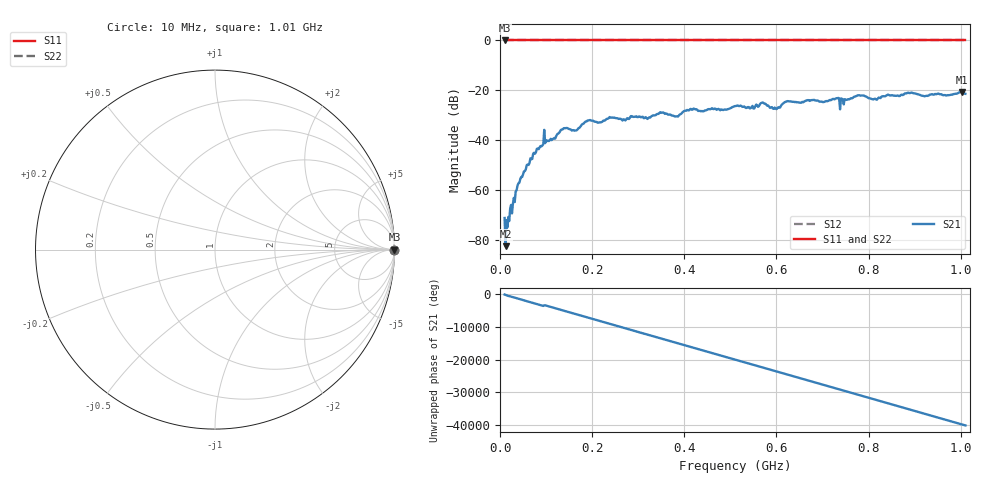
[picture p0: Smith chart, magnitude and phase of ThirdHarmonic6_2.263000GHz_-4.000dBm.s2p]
! 8/17/2025 2:48:20 AM
! C:\ANRITSUVNA\TEMP\TEMP.S2P
! CHANNEL.1
! TR.MEASUREMENT
! RAW.DATA
! RF.CORRECTION.OFF
! AVERAGING.OFF
! IF.BANDWIDTH: 5KHZ
! SWEEPTYPE:  FREQ.SWEEP(Linear)
! Reference Plane Port Info
! PORT:  PORT1  PORT2
! DISTANCE:  0  m  0  m
! TIME:  0  s  0  s
! PHASE.OFFSET:  0  deg.  0  deg.
! LOSS:  0  dB  0  dB
! REF.LOSS:  0  dB  0  dB
! REF.FREQ:  0  Hz  0  Hz
! Power Info
! POWER:  -20  dBm  -20  dBm
! EFF.POWER:  -20  dBm  -20  dBm
! SOURCE.ATTEN:  0  dB  0  dB
! TEST.ATTEN:  0  dB  0  dB
# GHZ S RI R 50.0
! FREQ.GHZ  S11RE  S11IM  S21RE  S21IM  S12RE  S12IM  S22RE  S22IM
!; PortSelection: Port_12
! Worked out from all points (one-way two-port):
!   501 points, 10 MHz to 1.01 GHz, reference 50 ohm
!   highest |S21| = -20.70 dB at 1.002 GHz (marker M1); lowest = -82.5 dB at 12 MHz (marker M2)
!   lowest |S11| = 0.0 dB at 10 MHz (marker M3)
!   |S11| at or under -10 dB: nowhere
!   |S22| runs from 0.0 to 0.0 dB; largest |S21 - S12| = 1.1
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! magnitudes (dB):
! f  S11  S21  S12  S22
! 10 MHz  0.0  -71.2  0.0  0.0
! 12 MHz  0.0  -82.5  0.0  0.0
! 16 MHz  0.0  -75.0  0.0  0.0
! 42 MHz  0.0  -57.1  0.0  0.0
! 92 MHz  0.0  -42.1  0.0  0.0
! 136 MHz  0.0  -35.7  0.0  0.0
! 164 MHz  0.0  -36.1  0.0  0.0
! 178 MHz  0.0  -33.7  0.0  0.0
! 344 MHz  0.0  -29.5  0.0  0.0
! 382 MHz  0.0  -30.4  0.0  0.0
! 416 MHz  0.0  -27.8  0.0  0.0
! 510 MHz  0.0  -26.3  0.0  0.0
! 570 MHz  0.0  -24.9  0.0  0.0
! 596 MHz  0.0  -26.9  0.0  0.0
! 622 MHz  0.0  -24.5  0.0  0.0
! 678 MHz  0.0  -23.9  0.0  0.0
! 742 MHz  0.0  -23.4  0.0  0.0
! 778 MHz  0.0  -22.0  0.0  0.0
! 814 MHz  0.0  -23.4  0.0  0.0
! 844 MHz  0.0  -21.9  0.0  0.0
! 1.002 GHz  0.0  -20.7  0.0  0.0
! 1.01 GHz  0.0  -21.4  0.0  0.0
